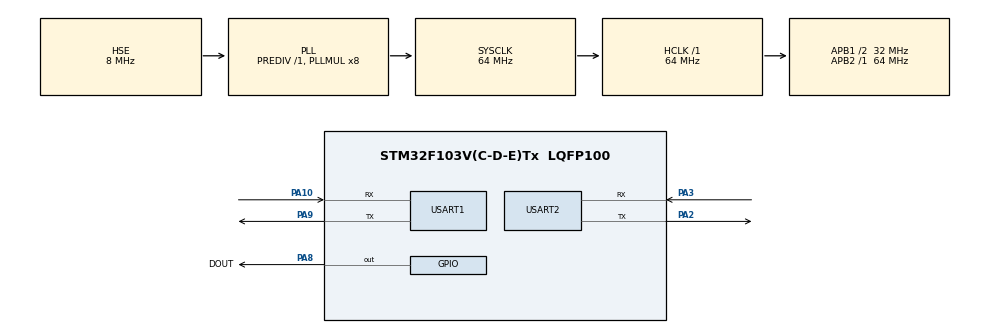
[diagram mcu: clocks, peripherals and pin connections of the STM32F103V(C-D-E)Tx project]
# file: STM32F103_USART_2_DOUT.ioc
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Dma.Request0=USART1_RX
Dma.Request1=USART1_TX
Dma.Request2=USART2_RX
Dma.Request3=USART2_TX
Dma.USART1_RX.0.Direction=DMA_PERIPH_TO_MEMORY
Dma.USART1_RX.0.Instance=DMA1_Channel5
Dma.USART1_RX.0.MemDataAlignment=DMA_MDATAALIGN_BYTE
Dma.USART1_RX.0.MemInc=DMA_MINC_ENABLE
Dma.USART1_RX.0.Mode=DMA_NORMAL
Dma.USART1_RX.0.PeriphDataAlignment=DMA_PDATAALIGN_BYTE
Dma.USART1_RX.0.PeriphInc=DMA_PINC_DISABLE
Dma.USART1_RX.0.Priority=DMA_PRIORITY_LOW
Dma.USART1_TX.1.Direction=DMA_MEMORY_TO_PERIPH
Dma.USART1_TX.1.Instance=DMA1_Channel4
Dma.USART1_TX.1.MemDataAlignment=DMA_MDATAALIGN_BYTE
Dma.USART1_TX.1.MemInc=DMA_MINC_ENABLE
Dma.USART1_TX.1.Mode=DMA_NORMAL
Dma.USART1_TX.1.PeriphDataAlignment=DMA_PDATAALIGN_BYTE
Dma.USART1_TX.1.PeriphInc=DMA_PINC_DISABLE
Dma.USART1_TX.1.Priority=DMA_PRIORITY_LOW
Dma.USART2_RX.2.Direction=DMA_PERIPH_TO_MEMORY
Dma.USART2_RX.2.Instance=DMA1_Channel6
Dma.USART2_RX.2.MemDataAlignment=DMA_MDATAALIGN_BYTE
Dma.USART2_RX.2.MemInc=DMA_MINC_ENABLE
Dma.USART2_RX.2.Mode=DMA_NORMAL
Dma.USART2_RX.2.PeriphDataAlignment=DMA_PDATAALIGN_BYTE
Dma.USART2_RX.2.PeriphInc=DMA_PINC_DISABLE
Dma.USART2_RX.2.Priority=DMA_PRIORITY_LOW
Dma.USART2_TX.3.Direction=DMA_MEMORY_TO_PERIPH
Dma.USART2_TX.3.Instance=DMA1_Channel7
Dma.USART2_TX.3.MemDataAlignment=DMA_MDATAALIGN_BYTE
Dma.USART2_TX.3.MemInc=DMA_MINC_ENABLE
Dma.USART2_TX.3.Mode=DMA_NORMAL
Dma.USART2_TX.3.PeriphDataAlignment=DMA_PDATAALIGN_BYTE
Dma.USART2_TX.3.PeriphInc=DMA_PINC_DISABLE
Dma.USART2_TX.3.Priority=DMA_PRIORITY_LOW
Mcu.Family=STM32F1
Mcu.Name=STM32F103V(C-D-E)Tx
Mcu.Package=LQFP100
NVIC.DMA1_Channel4_IRQn=true\:0\:0\:false\:false\:true\:false\:true\:true
NVIC.DMA1_Channel5_IRQn=true\:0\:0\:false\:false\:true\:false\:true\:true
NVIC.DMA1_Channel6_IRQn=true\:0\:0\:false\:false\:true\:false\:true\:true
NVIC.DMA1_Channel7_IRQn=true\:0\:0\:false\:false\:true\:false\:true\:true
NVIC.PriorityGroup=NVIC_PRIORITYGROUP_4
NVIC.USART1_IRQn=true\:0\:0\:false\:false\:true\:true\:true\:true
NVIC.USART2_IRQn=true\:0\:0\:false\:false\:true\:true\:true\:true
OSC_IN.Mode=HSE-External-Oscillator
OSC_IN.Signal=RCC_OSC_IN
OSC_OUT.Mode=HSE-External-Oscillator
OSC_OUT.Signal=RCC_OSC_OUT
PA10.Mode=Asynchronous
PA10.Signal=USART1_RX
PA13.Mode=Serial_Wire
PA13.Signal=SYS_JTMS-SWDIO
PA14.Mode=Serial_Wire
PA14.Signal=SYS_JTCK-SWCLK
PA2.Mode=Asynchronous
PA2.Signal=USART2_TX
PA3.Mode=Asynchronous
PA3.Signal=USART2_RX
PA8.GPIO_Label=DOUT
PA8.Signal=GPIO_Output
PA9.Mode=Asynchronous
PA9.Signal=USART1_TX
ProjectManager.HeapSize=0x200
ProjectManager.StackSize=0x400
ProjectManager.TargetToolchain=MDK-ARM V5
RCC.AHBFreq_Value=64000000
RCC.APB1CLKDivider=RCC_HCLK_DIV2
RCC.APB1Freq_Value=32000000
RCC.APB1TimFreq_Value=64000000
RCC.APB2Freq_Value=64000000
RCC.APB2TimFreq_Value=64000000
RCC.HCLKFreq_Value=64000000
RCC.PLLMUL=RCC_PLL_MUL8
RCC.PLLSourceVirtual=RCC_PLLSOURCE_HSE
RCC.SYSCLKFreq_VALUE=64000000
RCC.SYSCLKSource=RCC_SYSCLKSOURCE_PLLCLK
RCC.USBFreq_Value=64000000
USART1.VirtualMode=VM_ASYNC
USART2.VirtualMode=VM_ASYNC
board=STM32F103_USART_2_DOUT

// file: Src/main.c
/**
  ******************************************************************************
  * File Name          : main.c
  * Description        : Main program body
  ******************************************************************************
  ** This notice applies to any and all portions of this file
  * that are not between comment pairs USER CODE BEGIN and
  * USER CODE END. Other portions of this file, whether
  * inserted by the user or by software development tools
  * are owned by their respective copyright owners.
  *
  * COPYRIGHT(c) 2018 STMicroelectronics
  *
  * Redistribution and use in source and binary forms, with or without modification,
  * are permitted provided that the following conditions are met:
  *   1. Redistributions of source code must retain the above copyright notice,
  *      this list of conditions and the following disclaimer.
  *   2. Redistributions in binary form must reproduce the above copyright notice,
  *      this list of conditions and the following disclaimer in the documentation
  *      and/or other materials provided with the distribution.
  *   3. Neither the name of STMicroelectronics nor the names of its contributors
  *      may be used to endorse or promote products derived from this software
  *      without specific prior written permission.
  *
  * THIS SOFTWARE IS PROVIDED BY THE COPYRIGHT HOLDERS AND CONTRIBUTORS "AS IS"
  * AND ANY EXPRESS OR IMPLIED WARRANTIES, INCLUDING, BUT NOT LIMITED TO, THE
  * IMPLIED WARRANTIES OF MERCHANTABILITY AND FITNESS FOR A PARTICULAR PURPOSE ARE
  * DISCLAIMED. IN NO EVENT SHALL THE COPYRIGHT HOLDER OR CONTRIBUTORS BE LIABLE
  * FOR ANY DIRECT, INDIRECT, INCIDENTAL, SPECIAL, EXEMPLARY, OR CONSEQUENTIAL
  * DAMAGES (INCLUDING, BUT NOT LIMITED TO, PROCUREMENT OF SUBSTITUTE GOODS OR
  * SERVICES; LOSS OF USE, DATA, OR PROFITS; OR BUSINESS INTERRUPTION) HOWEVER
  * CAUSED AND ON ANY THEORY OF LIABILITY, WHETHER IN CONTRACT, STRICT LIABILITY,
  * OR TORT (INCLUDING NEGLIGENCE OR OTHERWISE) ARISING IN ANY WAY OUT OF THE USE
  * OF THIS SOFTWARE, EVEN IF ADVISED OF THE POSSIBILITY OF SUCH DAMAGE.
  *
  ******************************************************************************
  */

#include "main.h"
#include "stm32f1xx_hal.h"
#include "dma.h"
#include "usart.h"
#include "gpio.h"

/* USER CODE BEGIN PV */
/* Private variables ---------------------------------------------------------*/
#define TFMINI_PIX_FLAG_END         0x0D0A     /*\r\n*/
#define TFMINI_PIX_FLAG_NEG         0x2D       /* - */
#define TFMINI_PIX_FLAG_DECPIONT    0x2E       /* . */

#define ASCII_0                     0x30       /*ASCII:0*/

//--------------<<< Use Configuration Wizard in Context Menu >>>---------------
//<h>   The Para Configuration
//      <o0> TFMINI_ACTION_DIST(0-65535, unit:cm)
//</h>
#define TFMINI_ACTION_DIST          200
//---------------<<< end of configuration section >>>--------------------------

extern DMA_HandleTypeDef hdma_usart1_rx;
extern DMA_HandleTypeDef hdma_usart2_rx;

uint8_t g_usart1_rx_buf[USART_BUF_SIZE] = {0};    /*usart1_rx_buf*/
uint8_t g_usart2_rx_buf[USART_BUF_SIZE] = {0};    /*usart2_rx_buf*/
/* USER CODE END PV */

void SystemClock_Config(void);

/* USER CODE BEGIN PFP */
/* Private function prototypes -----------------------------------------------*/

/* USER CODE END PFP */

int main(void)
{

  /* MCU Configuration----------------------------------------------------------*/

  /* Reset of all peripherals, Initializes the Flash interface and the Systick. */
  HAL_Init();

  /* Configure the system clock */
  SystemClock_Config();

  /* Initialize all configured peripherals */
  MX_GPIO_Init();
  MX_DMA_Init();
  MX_USART1_UART_Init();
  MX_USART2_UART_Init();

  /* USER CODE BEGIN 2 */
  HAL_UART_Receive_DMA(&huart1, g_usart1_rx_buf, USART_BUF_SIZE);
  HAL_UART_Receive_DMA(&huart2, g_usart2_rx_buf, USART_BUF_SIZE);

  __HAL_UART_ENABLE_IT(&huart1, UART_IT_IDLE);    //UART_IT_IDLE
  __HAL_UART_ENABLE_IT(&huart2, UART_IT_IDLE);    //UART_IT_IDLE

//  printf("TFMini\r\n");
 // printf("USART_2_DOUT\r\n");
 // printf("Argement: PIX\r\n");
 // printf("dist > %d cm, PA11 set Low;\r\ndist <= %d cm, PA8 set High.\r\n", TFMINI_ACTION_DIST, TFMINI_ACTION_DIST);
  /* USER CODE END 2 */

  /* Infinite loop */
  while (1)
  {

  }

}

/** System Clock Configuration
*/
void SystemClock_Config(void)
{

  RCC_OscInitTypeDef RCC_OscInitStruct;
  RCC_ClkInitTypeDef RCC_ClkInitStruct;

    /**Initializes the CPU, AHB and APB busses clocks
    */
  RCC_OscInitStruct.OscillatorType = RCC_OSCILLATORTYPE_HSE;
  RCC_OscInitStruct.HSEState = RCC_HSE_ON;
  RCC_OscInitStruct.HSEPredivValue = RCC_HSE_PREDIV_DIV1;
  RCC_OscInitStruct.HSIState = RCC_HSI_ON;
  RCC_OscInitStruct.PLL.PLLState = RCC_PLL_ON;
  RCC_OscInitStruct.PLL.PLLSource = RCC_PLLSOURCE_HSE;
  RCC_OscInitStruct.PLL.PLLMUL = RCC_PLL_MUL8;
  if (HAL_RCC_OscConfig(&RCC_OscInitStruct) != HAL_OK)
  {
    _Error_Handler(__FILE__, __LINE__);
  }

    /**Initializes the CPU, AHB and APB busses clocks
    */
  RCC_ClkInitStruct.ClockType = RCC_CLOCKTYPE_HCLK|RCC_CLOCKTYPE_SYSCLK
                              |RCC_CLOCKTYPE_PCLK1|RCC_CLOCKTYPE_PCLK2;
  RCC_ClkInitStruct.SYSCLKSource = RCC_SYSCLKSOURCE_PLLCLK;
  RCC_ClkInitStruct.AHBCLKDivider = RCC_SYSCLK_DIV1;
  RCC_ClkInitStruct.APB1CLKDivider = RCC_HCLK_DIV2;
  RCC_ClkInitStruct.APB2CLKDivider = RCC_HCLK_DIV1;

  if (HAL_RCC_ClockConfig(&RCC_ClkInitStruct, FLASH_LATENCY_2) != HAL_OK)
  {
    _Error_Handler(__FILE__, __LINE__);
  }

    /**Configure the Systick interrupt time
    */
  HAL_SYSTICK_Config(HAL_RCC_GetHCLKFreq()/1000);

    /**Configure the Systick
    */
  HAL_SYSTICK_CLKSourceConfig(SYSTICK_CLKSOURCE_HCLK);

  /* SysTick_IRQn interrupt configuration */
  HAL_NVIC_SetPriority(SysTick_IRQn, 0, 0);
}

/* USER CODE BEGIN 4 */
/*************************************************
Function: USART1_RX_Proc
Description: USART1_RX_Proc
Input:
    buf, data buffer
    len, data len
Output: None
Return: None
Others: TFMini output dist unit = cm;
*************************************************/
void USART1_RX_Proc(uint8_t *buf, uint32_t len)
{
    uint16_t cordist = 0;

    /*xxx.xx\r\n*/
    if((TFMINI_PIX_FLAG_END == (buf[len - 1] | (buf[len - 2] << 8))) \
        && (TFMINI_PIX_FLAG_DECPIONT == buf[len - 5]))
    {

        if(buf[0] == TFMINI_PIX_FLAG_NEG)   /*Negative, the amplitude value too low.*/
        {
            cordist = 1200;
        }
        else
        {
            cordist = ((buf[len - 6] - ASCII_0) * 100) + ((buf[len - 4] - ASCII_0) * 10) + (buf[len - 3] - ASCII_0);
            cordist+= (len == 7) ? ((buf[len - 7] - ASCII_0) * 1000) : 0;
        }

        /*cordist > TFMINI_ACTION_DIST cm, PA8 set Low;
          cordist <= TFMINI_ACTION_DIST cm, PA8 set High.*/
        if(HAL_GPIO_ReadPin(DOUT_GPIO_Port, DOUT_Pin) != GPIO_PIN_RESET)
        {
            if(cordist > TFMINI_ACTION_DIST)
            {
                HAL_GPIO_WritePin(DOUT_GPIO_Port, DOUT_Pin, GPIO_PIN_RESET);

            }
        }
        else
        {
            if(cordist <= TFMINI_ACTION_DIST)
            {
                HAL_GPIO_WritePin(DOUT_GPIO_Port, DOUT_Pin, GPIO_PIN_SET);
            }
        }
    }
}

/*************************************************
Function: USART2_RX_Proc
Description: USART2_RX_Proc
Input:
    buf, data buffer
    len, data len
Output: None
Return: None
Others:
*************************************************/
void USART2_RX_Proc(uint8_t *buf, uint32_t len)
{

}
/* USER CODE END 4 */

void _Error_Handler(char * file, int line)
{
  /* USER CODE BEGIN Error_Handler_Debug */
  /* User can add his own implementation to report the HAL error return state */
  while(1)
  {
    printf("_Error_Handler\r\nFile_Name:%s,line:%d",file, line);
  }
  /* USER CODE END Error_Handler_Debug */
}

/************************ (C) COPYRIGHT STMicroelectronics *****END OF FILE****/
